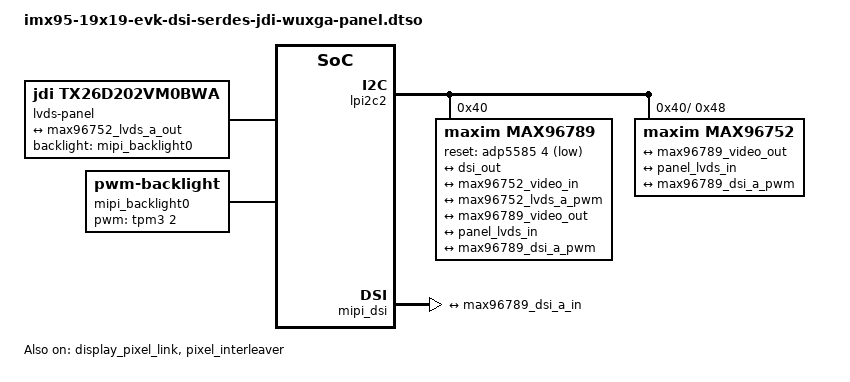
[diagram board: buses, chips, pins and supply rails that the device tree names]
// SPDX-License-Identifier: (GPL-2.0+ OR MIT)
/*
 * Copyright 2026 NXP
 */

/dts-v1/;
/plugin/;

#include "imx95-clock.h"
#include <dt-bindings/gpio/gpio.h>

&{/} {
	lvds-panel {
		compatible = "jdi,tx26d202vm0bwa";
		backlight = <&mipi_backlight0>;

		port {
			panel_lvds_in: endpoint {
				remote-endpoint = <&max96752_lvds_a_out>;
			};
		};

		panel-timing {
			clock-frequency = <156720000>;
			hactive = <1920>;
			vactive = <1200>;
			hfront-porch = <110>;
			hback-porch = <108>;
			hsync-len = <30>;
			vback-porch = <5>;
			vfront-porch = <5>;
			vsync-len = <5>;

			de-active = <1>;
		};
	};

	mipi_backlight0: mipi-backlight-0 {
		compatible = "pwm-backlight";
		pwms = <&tpm3 2 100000 0>;

		brightness-levels = < 0  1  2  3  4  5  6  7  8  9
				     10 11 12 13 14 15 16 17 18 19
				     20 21 22 23 24 25 26 27 28 29
				     30 31 32 33 34 35 36 37 38 39
				     40 41 42 43 44 45 46 47 48 49
				     50 51 52 53 54 55 56 57 58 59
				     60 61 62 63 64 65 66 67 68 69
				     70 71 72 73 74 75 76 77 78 79
				     80 81 82 83 84 85 86 87 88 89
				     90 91 92 93 94 95 96 97 98 99
				    100>;
		default-brightness-level = <80>;
	};
};

&display_pixel_link {
	status = "okay";
};


&dpu {
	assigned-clocks = <&scmi_clk IMX95_CLK_DISP1PIX>,
			  <&scmi_clk IMX95_CLK_VIDEOPLL1_VCO>,
			  <&scmi_clk IMX95_CLK_VIDEOPLL1>;
	assigned-clock-parents = <&scmi_clk IMX95_CLK_VIDEOPLL1>;
	assigned-clock-rates = <0>, <2820000000>, <470000000>;
};

&lpi2c2 {
	#address-cells = <1>;
	#size-cells = <0>;

	max96789: mipi-dsi-serializer@40 {
		#address-cells = <1>;
		#size-cells = <0>;

		compatible = "maxim,max96789";
		reg = <0x40>;
		status = "okay";

		reset-gpios = <&adp5585 4 GPIO_ACTIVE_LOW>;

		maxim,gmsl-links-types = <2 2>;
		maxim,gmsl2-link-speed = <6>;
		maxim,gmsl2-dual-link;

		/* DSI port 0 */
		max96789-dsi-bridge@0 {
			reg = <0>;

			compatible = "maxim,max96789-dsi";

			port {
				#address-cells = <1>;
				#size-cells = <0>;

				max96789_dsi_a_in: endpoint@0 {
					reg = <0>;

					remote-endpoint = <&dsi_out>;
					data-lanes = <1 2 3 4>;
				};

				max96789_video_out: endpoint@1 {
					reg = <1>;

					remote-endpoint = <&max96752_video_in>;
				};
			};
		};

		gpio-config {
			#address-cells = <1>;
			#size-cells = <0>;

			port@b {
				reg = <11>;

				/* input, pull-down, 1Mohm */
				maxim,pin_config = <1 2 1>;

				max96789_dsi_a_pwm: endpoint {
					remote-endpoint = <&max96752_lvds_a_pwm>;
				};
			};
		};

		i2c-mux {
			#address-cells = <1>;
			#size-cells = <0>;

			/* gmsl a */
			i2c@0 {
				#address-cells = <1>;
				#size-cells = <0>;

				reg = <0>;

				max96752: mipi-dsi-deserializer@48 {
					compatible = "maxim,max96752";
					reg = <0x48>;
					status = "okay";

					maxim,gmsl2-link-speed = <6>;
					maxim,gmsl2-dual-link;

					max96752-lvds-bridge {
						compatible = "maxim,max96752-lvds";
						maxim,dual-channel;

						port {
							#address-cells = <1>;
							#size-cells = <0>;

							max96752_video_in: endpoint@0 {
								reg = <0>;

								remote-endpoint = <&max96789_video_out>;
							};

							max96752_lvds_a_out: endpoint@1 {
								reg = <1>;

								remote-endpoint = <&panel_lvds_in>;
							};
						};
					};

					gpio-config {
						#address-cells = <1>;
						#size-cells = <0>;

						port@d {
							reg = <13>;

							/* output, no pull up/down */
							maxim,pin_config = <0 0 0>;

							max96752_lvds_a_pwm: endpoint {
								remote-endpoint = <&max96789_dsi_a_pwm>;
							};
						};
					};

					i2c-gate {
						status = "disabled";
					};
				};
			};
		};
	};
};

&mipi_dsi {
	status = "okay";

	ports {
		#address-cells = <1>;
		#size-cells = <0>;

		port@1 {
			reg = <1>;

			dsi_out: endpoint {
				remote-endpoint = <&max96789_dsi_a_in>;
			};
		};
	};
};

&pixel_interleaver {
	#address-cells = <1>;
	#size-cells = <0>;
	status = "okay";

	channel@0 {
		reg = <0>;
		status = "okay";
	};
};
